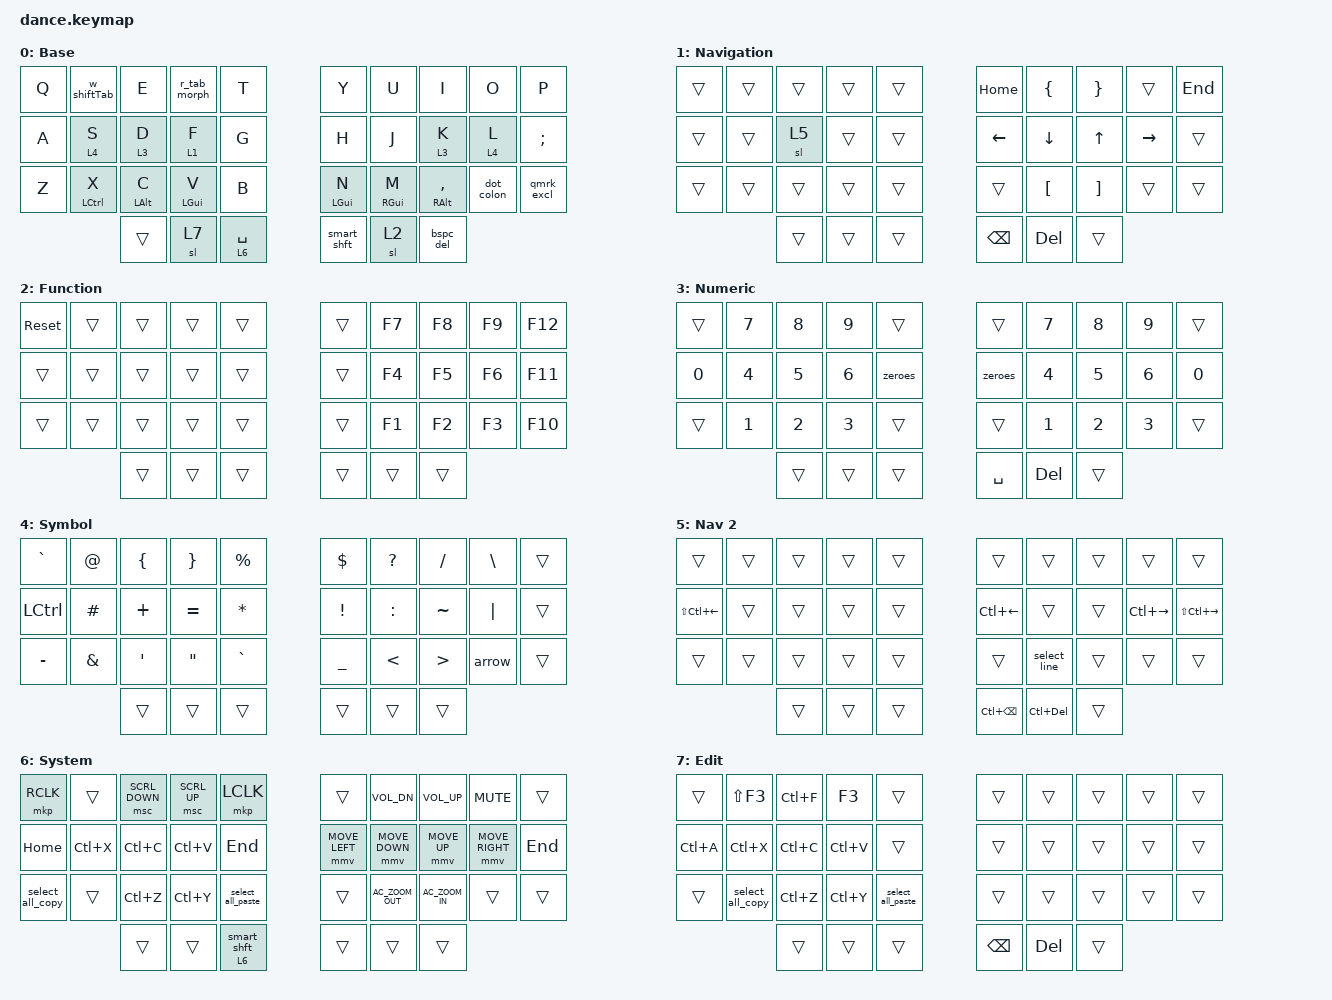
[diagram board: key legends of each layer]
/*
 * Copyright (c) 2020 The ZMK Contributors
 *
 * SPDX-License-Identifier: MIT
 */

#include <behaviors/mouse_keys.dtsi>
#include <dt-bindings/zmk/mouse.h>

#define ZMK_POINTING_DEFAULT_MOVE_VAL 1100  // default: 600
#define ZMK_POINTING_DEFAULT_SCRL_VAL 20    // default: 10

#include <behaviors.dtsi>
#include <dt-bindings/zmk/keys.h>
#include <dt-bindings/zmk/pointing.h>

#define DEFAULT 0
#define NAV 1
#define FUN 2
#define NUM 3
#define SYMBOL 4
#define NAV2 5
#define SYS 6
#define EDIT 7

&lt { quick-tap-ms = <50>; };

/ {
    conditional_layers { compatible = "zmk,conditional-layers"; };

    behaviors {
        bspc_del: backspace_delete {
            compatible = "zmk,behavior-mod-morph";
            label = "BACKSPACE_DELETE";
            #binding-cells = <0>;
            bindings = <&kp BACKSPACE>, <&kp DELETE>;

            mods = <(MOD_LSFT|MOD_RSFT)>;
            keep-mods = <(MOD_RSFT)>;
        };

        smart_shft: smart_shift {
            compatible = "zmk,behavior-mod-morph";
            label = "SMART_SHIFT";
            #binding-cells = <0>;
            bindings = <&sk LSHFT>, <&caps_word>;

            mods = <(MOD_LSFT)>;
        };

        comma_semi: comma_semi {
            compatible = "zmk,behavior-mod-morph";
            label = "COMMA_SEMI";
            #binding-cells = <0>;
            bindings = <&kp COMMA>, <&kp SEMI>;

            mods = <(MOD_LSFT)>;
        };

        dot_colon: dot_colon {
            compatible = "zmk,behavior-mod-morph";
            label = "DOT_COLON";
            #binding-cells = <0>;
            bindings = <&kp DOT>, <&kp COLON>;

            mods = <(MOD_LSFT)>;
        };

        qmrk_excl: qmrk_excl {
            compatible = "zmk,behavior-mod-morph";
            label = "QUESTION_EXCLAMATION";
            #binding-cells = <0>;
            bindings = <&kp QMARK>, <&kp EXCL>;

            mods = <(MOD_LSFT)>;
        };

        hold_tap: hold_tap {
            compatible = "zmk,behavior-hold-tap";
            label = "HOLD_TAP";
            bindings = <&kp>, <&kp>;

            #binding-cells = <2>;
            tapping-term-ms = <200>;
            flavor = "balanced";
            quick-tap-ms = <50>;
        };

        r_tab_morph: r_tab_morph {
            compatible = "zmk,behavior-mod-morph";
            label = "R_TAB_MORPH";
            #binding-cells = <0>;
            bindings = <&kp R>, <&kp TAB>;

            mods = <(MOD_LALT)>;
            keep-mods = <(MOD_LALT)>;
        };

        w_shiftTab: w_shiftTab {
            compatible = "zmk,behavior-mod-morph";
            label = "W_SHIFTTAB";
            #binding-cells = <0>;
            bindings = <&kp W>, <&kp LS(TAB)>;

            mods = <(MOD_LALT)>;
            keep-mods = <(MOD_LALT)>;
        };

        hold_tap_layer_key: hold_tap_layer_key {
            compatible = "zmk,behavior-hold-tap";
            label = "HOLD_TAP_LAYER_KEY";
            bindings = <&to>, <&smart_shft>;

            #binding-cells = <2>;
            tapping-term-ms = <50>;
            hold-trigger-key-positions = <32>;
        };

        caps_word_enter: caps_word_enter {
            compatible = "zmk,behavior-caps-word";
            label = "CAPS_WORD_ENTER";
            #binding-cells = <0>;
            continue-list = <SPACE>;
            mods = <(MOD_LSFT)>;
        };
    };

    combos {
        compatible = "zmk,combos";

        cmb_enter {
            bindings = <&kp RET>;
            key-positions = <27 28>;
            timeout-ms = <75>;
        };

        cmb_bspace {
            bindings = <&kp BACKSPACE>;
            key-positions = <18 17>;
            timeout-ms = <50>;
        };

        cmb_esc {
            bindings = <&kp ESCAPE>;
            key-positions = <21 22>;
        };

        cmb_question {
            bindings = <&qmrk_excl>;
            key-positions = <6 7>;
        };

        cmb_comma_semicomma {
            bindings = <&comma_semi>;
            key-positions = <2 3>;
        };

        cmb_squote {
            bindings = <&kp SINGLE_QUOTE>;
            key-positions = <12 13>;
            layers = <0>;
        };

        cmb_dquote {
            bindings = <&kp DOUBLE_QUOTES>;
            key-positions = <22 23>;
        };

        cmb_ctrl_alt_del {
            bindings = <&kp LC(LA(DELETE))>;
            key-positions = <20 29>;
        };

        cmb_minus {
            bindings = <&kp MINUS>;
            key-positions = <4 5>;
        };

        cmb_equal {
            bindings = <&kp EQUAL>;
            key-positions = <14 15>;
        };

        cmb_underscore {
            bindings = <&kp UNDERSCORE>;
            key-positions = <24 25>;
        };

        cmb_capsword {
            bindings = <&caps_word_enter>;
            key-positions = <13 16>;
        };

        cmb_tab {
            bindings = <&kp TAB>;
            key-positions = <1 2>;
        };

        cmb_dot {
            bindings = <&dot_colon>;
            key-positions = <11 12>;
        };

        SnipTool {
            bindings = <&kp LG(LS(S))>;
            key-positions = <0 4>;
        };

        LeftBracket {
            bindings = <&kp LEFT_BRACKET>;
            key-positions = <1 3>;
        };

        RightBracket {
            bindings = <&kp RIGHT_BRACKET>;
            key-positions = <8 6>;
        };

        LeftParentesis {
            bindings = <&kp LEFT_PARENTHESIS>;
            key-positions = <21 23>;
        };

        RightParentesis {
            bindings = <&kp RIGHT_PARENTHESIS>;
            key-positions = <28 26>;
        };

        save {
            bindings = <&kp LC(S)>;
            key-positions = <13 12>;
            layers = <7>;
        };

        cmb_del {
            bindings = <&kp DEL>;
            key-positions = <7 8>;
            timeout-ms = <80>;
        };
    };

    macros {
        arrow: arrow {
            compatible = "zmk,behavior-macro";
            #binding-cells = <0>;
            bindings = <&kp MINUS &kp GT>;
            label = "ARROW";
        };

        zeroes: zeroes {
            compatible = "zmk,behavior-macro";
            #binding-cells = <0>;
            bindings = <&kp N0 &kp N0 &kp N0>;
            label = "ZEROES";
        };

        select_line: select_line {
            compatible = "zmk,behavior-macro";
            #binding-cells = <0>;
            bindings = <&kp HOME &kp LS(END)>;
            label = "SELECT_LINE";
        };

        select_all_copy: select_all_copy {
            compatible = "zmk,behavior-macro";
            #binding-cells = <0>;
            bindings = <&kp LC(A) &kp LC(C)>;
            label = "SELECT_ALL_COPY";
        };

        select_all_paste: select_all_paste {
            compatible = "zmk,behavior-macro";
            #binding-cells = <0>;
            bindings = <&kp LC(A) &kp LC(V)>;
            label = "SELECT_ALL_PASTE";
        };
    };

    keymap {
        compatible = "zmk,keymap";

        default_layer {
            bindings = <
&kp Q  &w_shiftTab               &kp E                 &r_tab_morph          &kp T        &kp Y                 &kp U                  &kp I                      &kp O       &kp P
&kp A  &lt 4 S                   &lt 3 D               &lt 1 F               &kp G        &kp H                 &kp J                  &lt 3 K                    &lt 4 L     &kp SEMI
&kp Z  &hold_tap LEFT_CONTROL X  &hold_tap LEFT_ALT C  &hold_tap LEFT_GUI V  &kp B        &hold_tap LEFT_GUI N  &hold_tap RIGHT_GUI M  &hold_tap RIGHT_ALT COMMA  &dot_colon  &qmrk_excl
                                 &trans                &sl 7                 &lt 6 SPACE  &smart_shft           &sl 2                  &bspc_del
            >;

            display-name = "Base";
        };

        nav_layer {
            bindings = <
&trans  &trans  &trans  &trans  &trans  &kp HOME       &kp LEFT_BRACE    &kp RIGHT_BRACE    &trans     &kp END
&trans  &trans  &sl 5   &trans  &trans  &kp LEFT       &kp DOWN          &kp UP             &kp RIGHT  &trans
&trans  &trans  &trans  &trans  &trans  &trans         &kp LEFT_BRACKET  &kp RIGHT_BRACKET  &trans     &trans
                &trans  &trans  &trans  &kp BACKSPACE  &kp DELETE        &trans
            >;

            display-name = "Navigation";
        };

        fun_layer {
            bindings = <
&sys_reset  &trans  &trans  &trans  &trans  &trans  &kp F7  &kp F8  &kp F9  &kp F12
&trans      &trans  &trans  &trans  &trans  &trans  &kp F4  &kp F5  &kp F6  &kp F11
&trans      &trans  &trans  &trans  &trans  &trans  &kp F1  &kp F2  &kp F3  &kp F10
                    &trans  &trans  &trans  &trans  &trans  &trans
            >;

            display-name = "Function";
        };

        num_layer {
            bindings = <
&trans  &kp N7  &kp N8  &kp N9  &trans   &trans     &kp N7   &kp N8  &kp N9  &trans
&kp N0  &kp N4  &kp N5  &kp N6  &zeroes  &zeroes    &kp N4   &kp N5  &kp N6  &kp N0
&trans  &kp N1  &kp N2  &kp N3  &trans   &trans     &kp N1   &kp N2  &kp N3  &trans
                &trans  &trans  &trans   &kp SPACE  &kp DEL  &trans
            >;

            display-name = "Numeric";
        };

        symbol_layer {
            bindings = <
&kp GRAVE  &kp AT_SIGN    &kp LEFT_BRACE  &kp RIGHT_BRACE    &kp PERCENT   &kp DOLLAR       &kp QUESTION   &kp SLASH         &kp BACKSLASH  &trans
&kp LCTRL  &kp HASH       &kp PLUS        &kp EQUAL          &kp ASTERISK  &kp EXCLAMATION  &kp COLON      &kp TILDE         &kp PIPE       &trans
&kp MINUS  &kp AMPERSAND  &kp SQT         &kp DOUBLE_QUOTES  &kp GRAVE     &kp UNDERSCORE   &kp LESS_THAN  &kp GREATER_THAN  &arrow         &trans
                          &trans          &trans             &trans        &trans           &trans         &trans
            >;

            display-name = "Symbol";
        };

        nav2_layer {
            bindings = <
&trans            &trans  &trans  &trans  &trans  &trans              &trans          &trans  &trans         &trans
&kp LS(LC(LEFT))  &trans  &trans  &trans  &trans  &kp LC(LEFT_ARROW)  &trans          &trans  &kp LC(RIGHT)  &kp LS(LC(RIGHT))
&trans            &trans  &trans  &trans  &trans  &trans              &select_line    &trans  &trans         &trans
                          &trans  &trans  &trans  &kp LC(BACKSPACE)   &kp LC(DELETE)  &trans
            >;

            display-name = "Nav 2";
        };

        sys_layer {
            bindings = <
&mkp RCLK         &trans     &msc SCRL_DOWN  &msc SCRL_UP  &mkp LCLK                &trans          &kp C_VOL_DN       &kp C_VOLUME_UP   &kp C_MUTE       &trans
&kp HOME          &kp LC(X)  &kp LC(C)       &kp LC(V)     &kp END                  &mmv MOVE_LEFT  &mmv MOVE_DOWN     &mmv MOVE_UP      &mmv MOVE_RIGHT  &kp END
&select_all_copy  &trans     &kp LC(Z)       &kp LC(Y)     &select_all_paste        &trans          &kp C_AC_ZOOM_OUT  &kp C_AC_ZOOM_IN  &trans           &trans
                             &trans          &trans        &hold_tap_layer_key 6 0  &trans          &trans             &trans
            >;

            display-name = "System";
        };

        edit_layer {
            bindings = <
&trans     &kp LS(F3)        &kp LC(F)  &kp F3     &trans             &trans         &trans   &trans  &trans  &trans
&kp LC(A)  &kp LC(X)         &kp LC(C)  &kp LC(V)  &trans             &trans         &trans   &trans  &trans  &trans
&trans     &select_all_copy  &kp LC(Z)  &kp LC(Y)  &select_all_paste  &trans         &trans   &trans  &trans  &trans
                             &trans     &trans     &trans             &kp BACKSPACE  &kp DEL  &trans
            >;

            display-name = "Edit";
        };
    };
};
